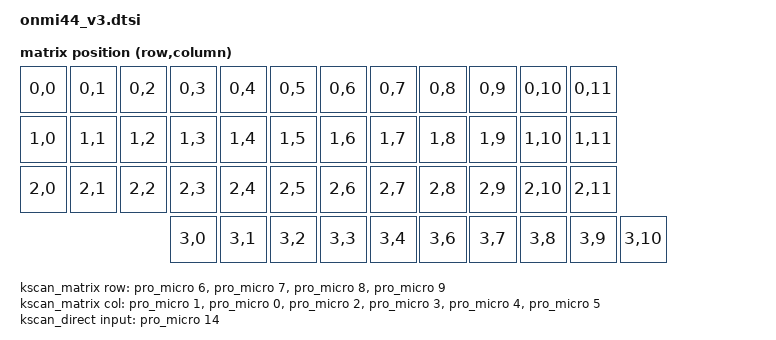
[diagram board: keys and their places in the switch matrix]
/*
 * Onmi44 v3 - shared devicetree for both halves.
 * Board: nice!nano (nRF52840), pro_micro pinout.
 *
 * Hardware mod "variant B" (per half):
 *   - stick SEL+ pin lifted from A3 pad  -> D14 (P1.11): stick button, active low
 *   - A3 pad (P0.31, AIN7) -> XPOS net: stick X axis
 *   - A1 pad (P0.02, AIN0) -> YPOS net: stick Y axis
 *   - P0.09/P0.10 remain attached to YPOS/XPOS as unused NFC pins,
 *     so UICR nfct-pins-as-gpios is required to keep analog levels clean.
 *
 * Matrix: 6 cols x 4 rows, col2row diodes, 22 keys + stick button per half.
 * Column wiring: D1 D0 D2 D3 D4 D5 (pro_micro 1 0 2 3 4 5)
 * Row wiring:    D6 D7 D8 D9    (pro_micro 6 7 8 9)
 * Display (SPI1): SCK = A0 (P1.15), MOSI = A2 (P0.29), CS = D15 (P1.13, active high)
 */

#include <dt-bindings/zmk/matrix_transform.h>
#include <zephyr/dt-bindings/adc/adc.h>
#include <zephyr/dt-bindings/adc/nrf-saadc.h>

/ {
    chosen {
        zmk,kscan = &kscan0;
        zmk,physical-layout = &physical_layout0;
    };

    kscan0: kscan0 {
        compatible = "zmk,kscan-composite";
        rows = <4>;
        columns = <6>;
        wakeup-source;

        matrix {
            kscan = <&kscan_matrix>;
        };

        stick_button {
            kscan = <&kscan_direct>;
            row-offset = <3>;
            col-offset = <4>;
        };
    };

    kscan_matrix: kscan_matrix {
        compatible = "zmk,kscan-gpio-matrix";
        wakeup-source;
        diode-direction = "col2row";
        col-gpios
            = <&pro_micro 1 GPIO_ACTIVE_HIGH>
            , <&pro_micro 0 GPIO_ACTIVE_HIGH>
            , <&pro_micro 2 GPIO_ACTIVE_HIGH>
            , <&pro_micro 3 GPIO_ACTIVE_HIGH>
            , <&pro_micro 4 GPIO_ACTIVE_HIGH>
            , <&pro_micro 5 GPIO_ACTIVE_HIGH>
            ;
        row-gpios
            = <&pro_micro 6 (GPIO_ACTIVE_HIGH | GPIO_PULL_DOWN)>
            , <&pro_micro 7 (GPIO_ACTIVE_HIGH | GPIO_PULL_DOWN)>
            , <&pro_micro 8 (GPIO_ACTIVE_HIGH | GPIO_PULL_DOWN)>
            , <&pro_micro 9 (GPIO_ACTIVE_HIGH | GPIO_PULL_DOWN)>
            ;
    };

    kscan_direct: kscan_direct {
        compatible = "zmk,kscan-gpio-direct";
        wakeup-source;
        input-gpios = <&pro_micro 14 (GPIO_ACTIVE_LOW | GPIO_PULL_UP)>;
    };

    default_transform: keymap_transform {
        compatible = "zmk,matrix-transform";
        rows = <4>;
        columns = <12>;
        // 46 positions: 23 per half (22 keys + stick button)
        map = <
RC(0,0)  RC(0,1)  RC(0,2)  RC(0,3)  RC(0,4)  RC(0,5)   RC(0,6)  RC(0,7)  RC(0,8)  RC(0,9)  RC(0,10) RC(0,11)
RC(1,0)  RC(1,1)  RC(1,2)  RC(1,3)  RC(1,4)  RC(1,5)   RC(1,6)  RC(1,7)  RC(1,8)  RC(1,9)  RC(1,10) RC(1,11)
RC(2,0)  RC(2,1)  RC(2,2)  RC(2,3)  RC(2,4)  RC(2,5)   RC(2,6)  RC(2,7)  RC(2,8)  RC(2,9)  RC(2,10) RC(2,11)
                         RC(3,0)  RC(3,1)  RC(3,2)  RC(3,3)  RC(3,4)  RC(3,6)  RC(3,7)  RC(3,8)  RC(3,9)  RC(3,10)
        >;
    };

    physical_layout0: physical_layout_0 {
        compatible = "zmk,physical-layout";
        display-name = "Onmi44 v3";
        kscan = <&kscan0>;
        transform = <&default_transform>;
    };

    analog_stick0: analog_stick0 {
        compatible = "zmk,analog-stick";
        io-channels = <&adc 5>, <&adc 6>;
        // Rough first calibration, refine after flashing:
        // center = 1.65V of 0..3.6V range at gain 1/6 + internal 0.6V ref = 1872/4095
        x-min = <50>;
        x-center = <1872>;
        x-max = <4045>;
        y-min = <50>;
        y-center = <1872>;
        y-max = <4045>;
        invert-x;
        deadzone-percent = <5>;
        wait-period-idle = <100>;
        wait-period-active = <10>;
    };
};

// SAADC channels 5/6 (channel 0 is taken by battery VDDHDIV5, channel 2 by v1 battery divider)
&adc {
    status = "okay";
    #address-cells = <1>;
    #size-cells = <0>;

    channel@5 {
        reg = <5>;
        zephyr,gain = "ADC_GAIN_1_6";
        zephyr,reference = "ADC_REF_INTERNAL";
        zephyr,acquisition-time = <ADC_ACQ_TIME(ADC_ACQ_TIME_MICROSECONDS, 40)>;
        zephyr,input-positive = <NRF_SAADC_AIN7>;
        zephyr,resolution = <12>;
        zephyr,oversampling = <4>;
    };

    channel@6 {
        reg = <6>;
        zephyr,gain = "ADC_GAIN_1_6";
        zephyr,reference = "ADC_REF_INTERNAL";
        zephyr,acquisition-time = <ADC_ACQ_TIME(ADC_ACQ_TIME_MICROSECONDS, 40)>;
        zephyr,input-positive = <NRF_SAADC_AIN0>;
        zephyr,resolution = <12>;
        zephyr,oversampling = <4>;
    };
};

&uicr {
    nfct-pins-as-gpios;
};
